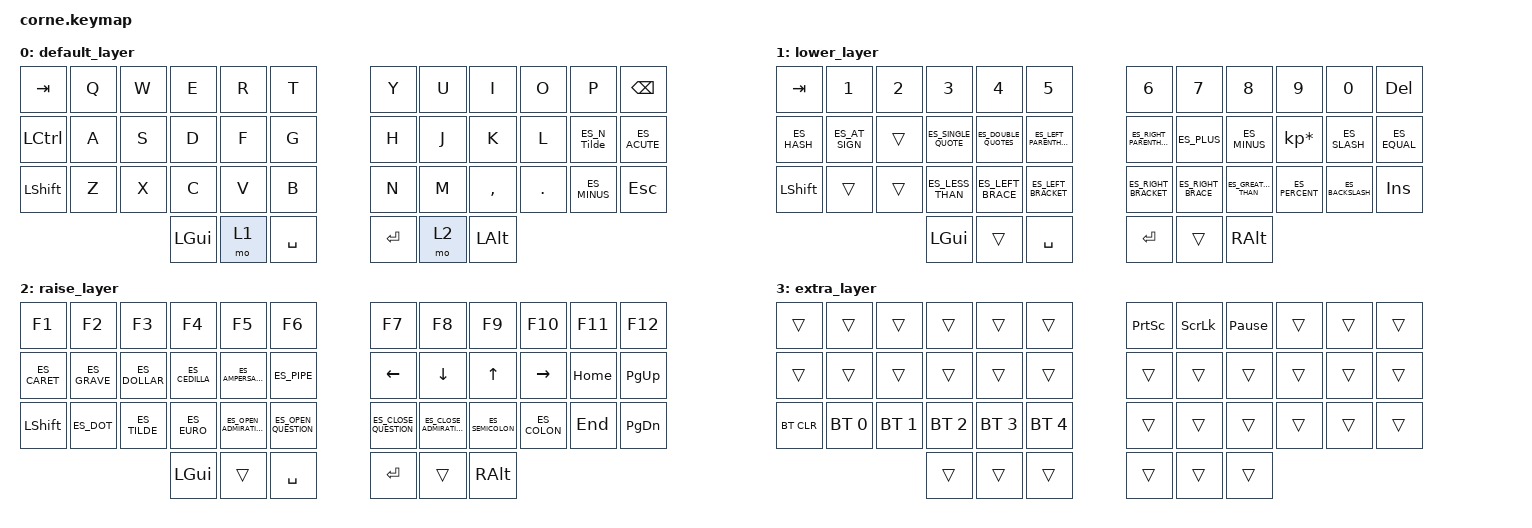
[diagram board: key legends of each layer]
/*
 * Copyright (c) 2020 The ZMK Contributors
 *
 * SPDX-License-Identifier: MIT
 */

#include <behaviors.dtsi>
#include <dt-bindings/zmk/keys.h>
#include <dt-bindings/zmk/bt.h>
#include "spanish_ansi_remap.h"


/ {
    keymap {
        compatible = "zmk,keymap";

        default_layer {
            // -----------------------------------------------------------------------------------------
            // |  TAB |  Q  |  W  |  E  |  R  |  T  |   |  Y  |  U   |  I  |  O  |  P  | BKSP |
            // | CTRL |  A  |  S  |  D  |  F  |  G  |   |  H  |  J   |  K  |  L  |  Ñ  |  ´   |
            // | SHFT |  Z  |  X  |  C  |  V  |  B  |   |  N  |  M   |  ,  |  .  |  -  | ESC  |
            //                    | GUI | LWR | SPC |   | ENT | RSE  | ALT |

            bindings = <
  &kp TAB  &kp Q  &kp W     &kp E  &kp R      &kp T      &kp Y  &kp U      &kp I    &kp O     &kp P  &kp BSPC
&kp LCTRL  &kp A  &kp S     &kp D  &kp F      &kp G      &kp H  &kp J      &kp K    &kp L  &kp ES_N_Tilde   &kp ES_ACUTE
&kp LSHFT  &kp Z  &kp X     &kp C  &kp V      &kp B      &kp N  &kp M  &kp COMMA  &kp PERIOD  &kp ES_MINUS  &kp ESC
                         &kp LGUI  &mo 1  &kp SPACE    &kp RET  &mo 2   &kp LALT
            >;
        };

        lower_layer {
            // -----------------------------------------------------------------------------------------
            // |  TAB |  1  |  2  |  3  |  4  |  5  |   |  6  |  7  |  8  |  9  |  0  |  DEL |
            // |   #  |  @  |     |  '  |  "  |  (  |   |  )  |  +  |  -  |  *  |  /  |   =  |
            // | SHFT |     |     |  <  |  {  |  [  |   |  ]  |  }  |  >  |  %  |  \  |  INS |
            //                    | GUI |     | SPC |   | ENT |     | ALT |

            bindings = <
  &kp TAB  &kp N1  &kp N2  &kp N3  &kp N4  &kp N5  &kp N6  &kp N7  &kp N8  &kp N9  &kp N0  &kp DELETE
 &kp ES_HASH  &kp ES_AT_SIGN  &trans  &kp ES_SINGLE_QUOTE  &kp ES_DOUBLE_QUOTES  &kp ES_LEFT_PARENTHESIS  &kp ES_RIGHT_PARENTHESIS  &kp ES_PLUS  &kp ES_MINUS  &kp KP_MULTIPLY  &kp ES_SLASH   &kp ES_EQUAL
&kp LSHFT  &trans  &trans  &kp ES_LESS_THAN  &kp ES_LEFT_BRACE  &kp ES_LEFT_BRACKET  &kp ES_RIGHT_BRACKET  &kp ES_RIGHT_BRACE  &kp ES_GREATER_THAN  &kp ES_PERCENT &kp ES_BACKSLASH  &kp INSERT
                                        &kp LGUI             &trans             &kp SPACE                  &kp RET           &trans          &kp RALT
            >;
        };

        raise_layer {
            // -----------------------------------------------------------------------------------------
            // |  F1  |  F2 |  F3 |  F4 |  F5 |  F6 |   |  F7 | F8  |  F9 | F10 | F11 | F12  |
            // |  ^   |  `  |  $  |  Ç  |  &  |  |  |   |LEFT |DOWN |  UP |RIGHT|HOME |PG UP |
            // | SHFT |  ·  |  ~  |  €  |  ¡  |  ¿  |   |  ?  |  !  |  ;  |  :  | END |PG DWN|
            //                    | GUI |     | SPC |   | ENT |     | ALT |

            bindings = <
   &kp F1     &kp F2      &kp F3    &kp F4         &kp F5     &kp F6          &kp F7    &kp F8         &kp F9    &kp F10   &kp F11      &kp F12
&kp ES_CARET  &kp ES_GRAVE  &kp ES_DOLLAR  &kp ES_CEDILLA  &kp ES_AMPERSAND   &kp ES_PIPE        &kp LEFT  &kp DOWN         &kp UP   &kp RIGHT  &kp HOME  &kp PAGE_UP
&kp LSHFT  &kp ES_DOT  &kp ES_TILDE  &kp ES_EURO  &kp ES_OPEN_ADMIRATION  &kp ES_OPEN_QUESTION  &kp ES_CLOSE_QUESTION  &kp ES_CLOSE_ADMIRATION  &kp ES_SEMICOLON  &kp ES_COLON  &kp END  &kp PG_DN
                                  &kp LGUI         &trans  &kp SPACE         &kp RET    &trans       &kp RALT
            >;
        };

        extra_layer {
            // -----------------------------------------------------------------------------------------
            // |      |     |     |     |     |     |   |     |PRTSC|SCRLK|PAUSE|    |      |
            // |      |     |     |     |     |     |   |     |     |     |     |    |      |
            // |BT CLR| BT 1| BT 2| BT 3| BT 4| BT 5|   |     |     |     |     |    |      |
            //                    |     |     |     |   |     |     |     |

            bindings = <
    &trans        &trans        &trans        &trans        &trans        &trans    &kp PRINTSCREEN  &kp SCROLLLOCK  &kp PAUSE_BREAK  &trans  &trans  &trans
    &trans        &trans        &trans        &trans        &trans        &trans             &trans          &trans           &trans  &trans  &trans  &trans
&bt BT_CLR  &bt BT_SEL 0  &bt BT_SEL 1  &bt BT_SEL 2  &bt BT_SEL 3  &bt BT_SEL 4             &trans          &trans           &trans  &trans  &trans  &trans
                                              &trans        &trans        &trans             &trans          &trans           &trans
            >;
        };
    };
};
